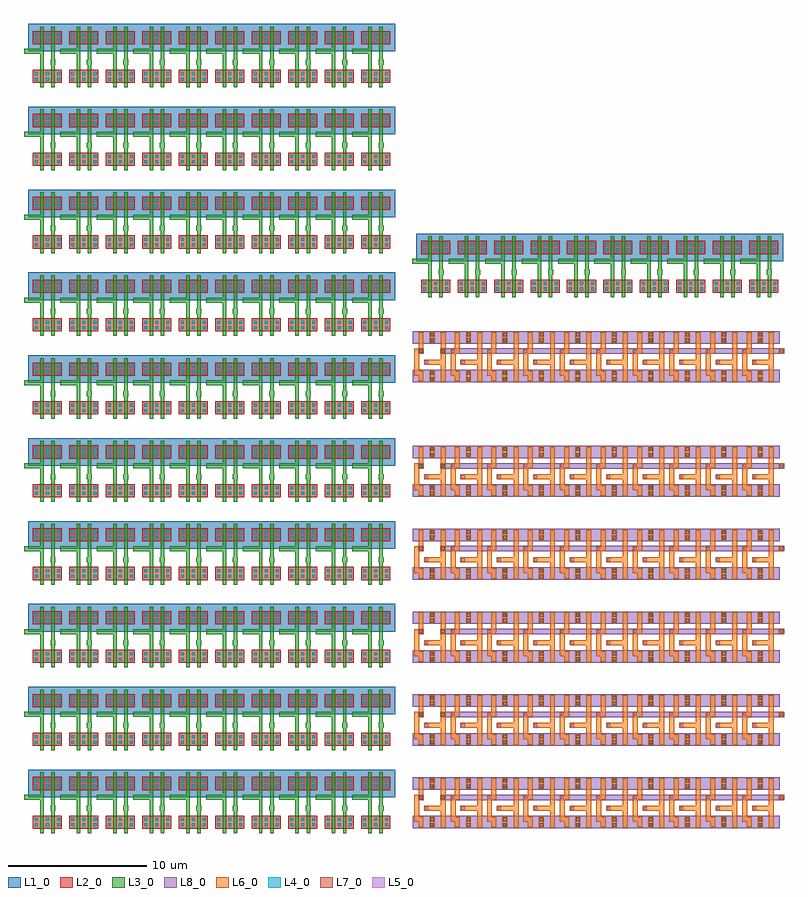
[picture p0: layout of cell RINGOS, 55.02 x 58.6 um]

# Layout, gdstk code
from math import pi, radians
import gdstk
lib = gdstk.Library(unit=1e-6, precision=1e-09)
def R(c, l, rs):  # rectangles x0, y0, x1, y1
    for r in rs: c.add(gdstk.rectangle(r[:2], r[2:], *l))
L1_0 = (1, 0)
L2_0 = (2, 0)
L3_0 = (3, 0)
L4_0 = (4, 0)
L5_0 = (5, 0)
L6_0 = (6, 0)
L7_0 = (7, 0)
L8_0 = (8, 0)

trans = lib.new_cell('TRANS')
R(trans, L2_0, [(-0.65,-0.475,0.65,0.475)])
R(trans, L4_0, [(-0.51,-0.31,-0.29,-0.09), (0.29,-0.31,0.51,-0.09), (-0.51,0.09,-0.29,0.31), (0.29,0.09,0.51,0.31)])
trans.add(gdstk.FlexPath([(0,-0.8),(0,0.8)], 0.25, ends="flush", simple_path=True, layer=3, datatype=0))  # L3_0

inv2 = lib.new_cell('INV2')
R(inv2, L1_0, [(-1.4,1.8,1.4,3.8)])
R(inv2, L3_0, [(-0.525,-0.25,-0.275,2.25), (0.275,-0.25,0.525,2.25), (0.22,0.82,0.58,1.18), (-1.7,1.62,-0.4,1.98)])
inv2.add(gdstk.Reference(trans, (-0.4,2.8)))
inv2.add(gdstk.Reference(trans, (0.4,0), x_reflection=True))
inv2.add(gdstk.Reference(trans, (0.4,2.8), x_reflection=True))
inv2.add(gdstk.Reference(trans, (-0.4,0)))
inv2.add(gdstk.Label('IN', (-0.8,1.8), layer=3, texttype=1))

ringo = lib.new_cell('RINGO')
ringo.add(gdstk.Reference(inv2, (0,0)))
ringo.add(gdstk.Reference(inv2, (2.64,0)))
ringo.add(gdstk.Reference(inv2, (5.28,0)))
ringo.add(gdstk.Reference(inv2, (7.92,0)))
ringo.add(gdstk.Reference(inv2, (10.56,0)))
ringo.add(gdstk.Reference(inv2, (13.2,0)))
ringo.add(gdstk.Reference(inv2, (15.84,0)))
ringo.add(gdstk.Reference(inv2, (18.48,0)))
ringo.add(gdstk.Reference(inv2, (21.12,0)))
ringo.add(gdstk.Reference(inv2, (23.76,0)))

transb = lib.new_cell('TRANSB')
R(transb, L6_0, [(-0.58,-0.38,-0.22,0.38), (0.22,-0.38,0.58,0.38)])

inv2b = lib.new_cell('INV2B')
R(inv2b, L5_0, [(0.29,0.89,0.51,1.11), (-1.63,1.69,-1.41,1.91)])
R(inv2b, L6_0, [(-0.98,-0.42,-0.62,2.42), (-0.8,0.82,0.58,1.18)])
R(inv2b, L7_0, [(-0.125,-0.325,0.125,-0.075), (-0.125,0.075,0.125,0.325), (-0.125,2.475,0.125,2.725), (-0.125,2.875,0.125,3.125)])
R(inv2b, L8_0, [(-1.4,-0.45,1.4,0.45), (-1.4,2.35,1.4,3.25)])
inv2b.add(gdstk.FlexPath([(0.8,0.2),(1.12,0.2),(1.12,1.8),(0.8,1.8),(0.8,2.42)], 0.36, ends="flush", simple_path=True, layer=6, datatype=0))  # L6_0
inv2b.add(gdstk.Reference(transb, (-0.4,2.8)))
inv2b.add(gdstk.Reference(transb, (0.4,0), x_reflection=True))
inv2b.add(gdstk.Reference(transb, (0.4,2.8), x_reflection=True))
inv2b.add(gdstk.Reference(transb, (-0.4,0)))
inv2b.add(gdstk.Label('OUT', (0.8,1.8), layer=6, texttype=1))

ringob = lib.new_cell('RINGOB')
R(ringob, L6_0, [(-1.7,1.62,-1.34,1.98)])
R(ringob, L7_0, [(-1.645,1.675,-1.395,1.925), (22.835,1.675,23.085,1.925), (24.435,1.675,24.685,1.925)])
R(ringob, L8_0, [(-1.72,1.6,23.16,2), (24.36,1.6,24.76,2)])
ringob.add(gdstk.Reference(inv2b, (0,0)))
ringob.add(gdstk.Reference(inv2b, (2.64,0)))
ringob.add(gdstk.Reference(inv2b, (5.28,0)))
ringob.add(gdstk.Reference(inv2b, (7.92,0)))
ringob.add(gdstk.Reference(inv2b, (10.56,0)))
ringob.add(gdstk.Reference(inv2b, (13.2,0)))
ringob.add(gdstk.Reference(inv2b, (15.84,0)))
ringob.add(gdstk.Reference(inv2b, (18.48,0)))
ringob.add(gdstk.Reference(inv2b, (21.12,0)))
ringob.add(gdstk.Reference(inv2b, (23.76,0)))
ringob.add(gdstk.Label('OSC', (24.56,1.8), layer=8, texttype=1))
ringob.add(gdstk.Label('FB', (0,1.8), layer=8, texttype=1))
ringob.add(gdstk.Label('VSS', (0,0), layer=8, texttype=1))
ringob.add(gdstk.Label('VDD', (0,2.8), layer=8, texttype=1))

ringos = lib.new_cell('RINGOS')
r = gdstk.Reference(ringo, (0,0)); r.repetition = gdstk.Repetition(1, 10, v1=(0,0), v2=(0,6)); ringos.add(r)
r = gdstk.Reference(ringob, (51.6,0), rotation=pi, x_reflection=True); r.repetition = gdstk.Repetition(1, 5, v1=(0,0), v2=(0,6)); ringos.add(r)
ringos.add(gdstk.Reference(ringob, (51.6,32.3), rotation=pi, x_reflection=True))
ringos.add(gdstk.Reference(ringo, (28.1,38.8)))

lib.write_gds('RINGOS.gds')
